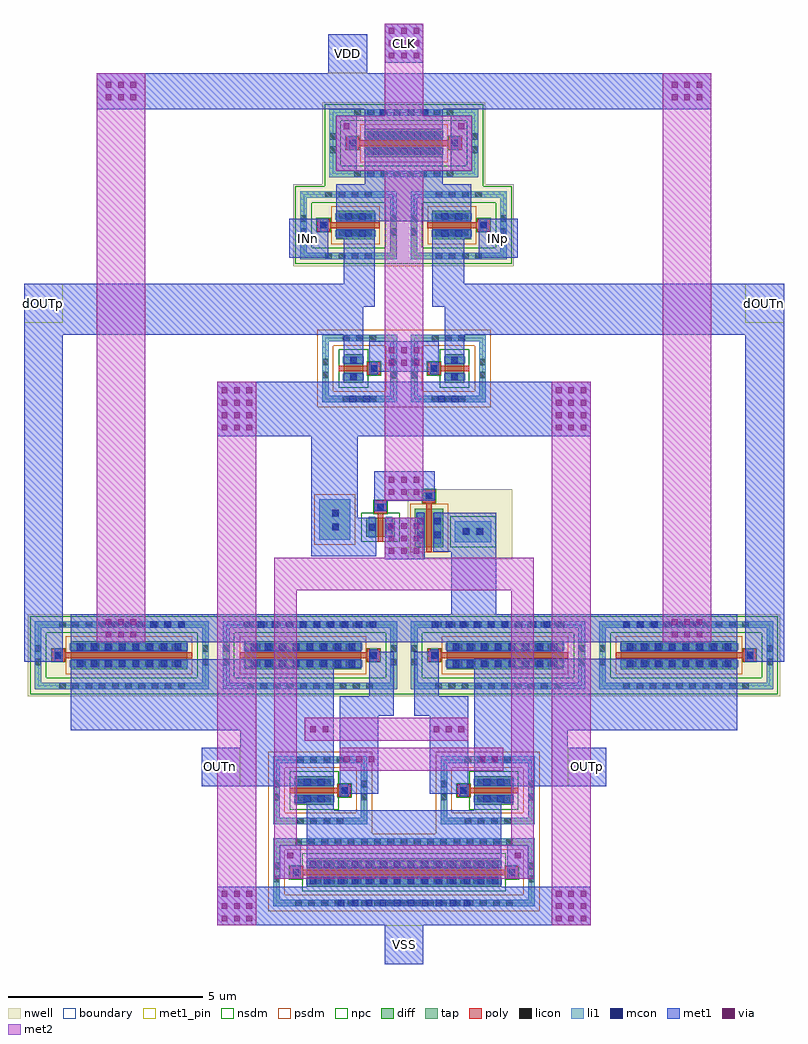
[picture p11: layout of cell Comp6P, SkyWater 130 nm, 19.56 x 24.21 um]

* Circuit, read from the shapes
.subckt Comp6P CLK INn INp OUTn OUTp VDD VSS dOUTn dOUTp
XM1 OUTn OUTp n1 VSS sky130_fd_pr__nfet_01v8 w=1 l=0.15
XM2 n1 Inv2-1_5/Out VSS VSS sky130_fd_pr__nfet_01v8 w=5 l=0.15
XM3 dOUTp CLK VSS VSS sky130_fd_pr__nfet_01v8 w=0.5 l=0.15
XM4 Inv2-1_5/Out CLK VSS VSS sky130_fd_pr__nfet_01v8 w=0.5 l=0.15
XM5 dOUTn CLK VSS VSS sky130_fd_pr__nfet_01v8 w=0.5 l=0.15
XM6 OUTp OUTn n1 VSS sky130_fd_pr__nfet_01v8 w=1 l=0.15
XM7 VDD dOUTp OUTn VDD sky130_fd_pr__pfet_01v8 w=3 l=0.15
XM8 VDD OUTp OUTn VDD sky130_fd_pr__pfet_01v8 w=3 l=0.15
XM9 n2 INn dOUTp VDD sky130_fd_pr__pfet_01v8 w=1 l=0.15
XM10 VDD CLK n2 VDD sky130_fd_pr__pfet_01v8 w=2 l=0.15
XM11 VDD CLK Inv2-1_5/Out VDD sky130_fd_pr__pfet_01v8 w=1 l=0.15
XM12 n2 INp dOUTn VDD sky130_fd_pr__pfet_01v8 w=1 l=0.15
XM13 VDD OUTn OUTp VDD sky130_fd_pr__pfet_01v8 w=3 l=0.15
XM14 VDD dOUTn OUTp VDD sky130_fd_pr__pfet_01v8 w=3 l=0.15
.ends

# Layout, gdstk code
from math import pi, radians
import gdstk
lib = gdstk.Library(unit=1e-6, precision=1e-09)
def R(c, l, rs):  # rectangles x0, y0, x1, y1
    for r in rs: c.add(gdstk.rectangle(r[:2], r[2:], *l))
def A(c, l, x, y, w, h, nx, ny, dx, dy):  # array of equal rectangles
    R(c, l, [(x+i*dx, y+j*dy, x+i*dx+w, y+j*dy+h) for i in range(nx) for j in range(ny)])
nwell = (64, 20)
diff = (65, 20)
tap = (65, 44)
poly = (66, 20)
licon = (66, 44)
li1 = (67, 20)
mcon = (67, 44)
met1_pin = (68, 16)
met1 = (68, 20)
via = (68, 44)
met2 = (69, 20)
nsdm = (93, 44)
psdm = (94, 20)
npc = (95, 20)
boundary = (235, 4)

sky130_fd_pr__pfet_01v8_ = lib.new_cell('sky130_fd_pr__pfet_01v8_KUW9CL')
R(sky130_fd_pr__pfet_01v8_, nwell, [(-1.055,-1.42,1.055,1.42)])
R(sky130_fd_pr__pfet_01v8_, diff, [(-0.365,-0.68,0.365,0.32)])
R(sky130_fd_pr__pfet_01v8_, tap, [(-0.875,-1.24,0.875,-1.07), (-0.875,-1.07,-0.705,1.07), (0.705,-1.07,0.875,1.07), (-0.875,1.07,0.875,1.24)])
R(sky130_fd_pr__pfet_01v8_, poly, [(-0.075,-0.81,0.075,0.475), (-0.165,0.475,0.165,0.805)])
A(sky130_fd_pr__pfet_01v8_, licon, -0.305, -0.605, 0.17, 0.17, 1, 3, 0, 0.34)
A(sky130_fd_pr__pfet_01v8_, licon, 0.135, -0.605, 0.17, 0.17, 1, 3, 0, 0.34)
A(sky130_fd_pr__pfet_01v8_, licon, -0.875, -0.595, 0.17, 0.17, 1, 4, 0, 0.34)
A(sky130_fd_pr__pfet_01v8_, licon, 0.705, -0.595, 0.17, 0.17, 1, 4, 0, 0.34)
R(sky130_fd_pr__pfet_01v8_, licon, [(-0.255,-1.24,-0.085,-1.07), (0.085,-1.24,0.255,-1.07), (-0.085,0.555,0.085,0.725), (-0.255,1.07,-0.085,1.24), (0.085,1.07,0.255,1.24)])
R(sky130_fd_pr__pfet_01v8_, li1, [(-0.875,-1.24,0.875,-1.07), (-0.875,-1.07,-0.705,1.07), (0.705,-1.07,0.875,1.07), (-0.305,-0.7,-0.135,0.34), (0.135,-0.7,0.305,0.34), (-0.165,0.555,0.165,0.725), (-0.875,1.07,0.875,1.24)])
R(sky130_fd_pr__pfet_01v8_, mcon, [(-0.305,-0.445,-0.135,-0.275), (0.135,-0.445,0.305,-0.275), (-0.305,-0.085,-0.135,0.085), (0.135,-0.085,0.305,0.085), (-0.085,0.555,0.085,0.725)])
R(sky130_fd_pr__pfet_01v8_, met1, [(-0.335,-0.68,-0.105,0.32), (0.105,-0.68,0.335,0.32), (-0.145,0.525,0.145,0.755)])
R(sky130_fd_pr__pfet_01v8_, nsdm, [(-1,-1.365,1,-0.945), (-1,-0.945,-0.58,0.945), (0.58,-0.945,1,0.945), (-1,0.945,1,1.365)])
R(sky130_fd_pr__pfet_01v8_, psdm, [(-0.49,-0.805,0.49,0.445)])
R(sky130_fd_pr__pfet_01v8_, npc, [(-0.185,0.455,0.185,0.825)])
R(sky130_fd_pr__pfet_01v8_, boundary, [(-0.79,-1.155,0.79,1.155)])

sky130_fd_pr__nfet_01v8_ = lib.new_cell('sky130_fd_pr__nfet_01v8_SYFC5S')
R(sky130_fd_pr__nfet_01v8_, diff, [(-0.365,-0.405,0.365,0.095)])
R(sky130_fd_pr__nfet_01v8_, tap, [(-0.875,-0.965,0.875,-0.795), (-0.875,-0.795,-0.705,0.795), (0.705,-0.795,0.875,0.795), (-0.875,0.795,0.875,0.965)])
R(sky130_fd_pr__nfet_01v8_, poly, [(-0.075,-0.535,0.075,0.205), (-0.165,0.205,0.165,0.535)])
A(sky130_fd_pr__nfet_01v8_, licon, -0.875, -0.425, 0.17, 0.17, 1, 3, 0, 0.34)
A(sky130_fd_pr__nfet_01v8_, licon, 0.705, -0.425, 0.17, 0.17, 1, 3, 0, 0.34)
R(sky130_fd_pr__nfet_01v8_, licon, [(-0.255,-0.965,-0.085,-0.795), (0.085,-0.965,0.255,-0.795), (-0.305,-0.24,-0.135,-0.07), (0.135,-0.24,0.305,-0.07), (-0.085,0.285,0.085,0.455), (-0.255,0.795,-0.085,0.965), (0.085,0.795,0.255,0.965)])
R(sky130_fd_pr__nfet_01v8_, li1, [(-0.875,-0.965,0.875,-0.795), (-0.875,-0.795,-0.705,0.795), (0.705,-0.795,0.875,0.795), (-0.305,-0.425,-0.135,0.115), (0.135,-0.425,0.305,0.115), (-0.165,0.285,0.165,0.455), (-0.875,0.795,0.875,0.965)])
R(sky130_fd_pr__nfet_01v8_, mcon, [(-0.305,-0.24,-0.135,-0.07), (0.135,-0.24,0.305,-0.07), (-0.085,0.285,0.085,0.455)])
R(sky130_fd_pr__nfet_01v8_, met1, [(-0.335,-0.405,-0.105,0.095), (0.105,-0.405,0.335,0.095), (-0.145,0.255,0.145,0.485)])
R(sky130_fd_pr__nfet_01v8_, nsdm, [(-0.49,-0.53,0.49,0.22)])
R(sky130_fd_pr__nfet_01v8_, psdm, [(-1,-1.09,1,-0.67), (-1,-0.67,-0.58,0.67), (0.58,-0.67,1,0.67), (-1,0.67,1,1.09)])
R(sky130_fd_pr__nfet_01v8_, npc, [(-0.185,0.185,0.185,0.555)])
R(sky130_fd_pr__nfet_01v8_, boundary, [(-0.79,-0.88,0.79,0.88)])

c_sky130_fd_pr__pfet_01v8_ = lib.new_cell('sky130_fd_pr__pfet_01v8_Q8B58K')
R(c_sky130_fd_pr__pfet_01v8_, nwell, [(-1.055,-2.095,1.055,2.095)])
R(c_sky130_fd_pr__pfet_01v8_, diff, [(-0.365,-1,0.365,1)])
R(c_sky130_fd_pr__pfet_01v8_, tap, [(-0.875,-1.915,0.875,-1.745), (-0.875,-1.745,-0.705,1.745), (0.705,-1.745,0.875,1.745), (-0.875,1.745,0.875,1.915)])
R(c_sky130_fd_pr__pfet_01v8_, poly, [(-0.165,-1.485,0.165,-1.155), (-0.075,-1.155,0.075,1.155), (-0.165,1.155,0.165,1.485)])
A(c_sky130_fd_pr__pfet_01v8_, licon, -0.875, -1.275, 0.17, 0.17, 1, 8, 0, 0.34)
A(c_sky130_fd_pr__pfet_01v8_, licon, 0.705, -1.275, 0.17, 0.17, 1, 8, 0, 0.34)
A(c_sky130_fd_pr__pfet_01v8_, licon, -0.305, -0.935, 0.17, 0.17, 1, 6, 0, 0.34)
A(c_sky130_fd_pr__pfet_01v8_, licon, 0.135, -0.935, 0.17, 0.17, 1, 6, 0, 0.34)
R(c_sky130_fd_pr__pfet_01v8_, licon, [(-0.255,-1.915,-0.085,-1.745), (0.085,-1.915,0.255,-1.745), (-0.085,-1.405,0.085,-1.235), (-0.085,1.235,0.085,1.405), (-0.255,1.745,-0.085,1.915), (0.085,1.745,0.255,1.915)])
R(c_sky130_fd_pr__pfet_01v8_, li1, [(-0.875,-1.915,0.875,-1.745), (-0.875,-1.745,-0.705,1.745), (0.705,-1.745,0.875,1.745), (-0.165,-1.405,0.165,-1.235), (-0.305,-1.02,-0.135,1.02), (0.135,-1.02,0.305,1.02), (-0.165,1.235,0.165,1.405), (-0.875,1.745,0.875,1.915)])
A(c_sky130_fd_pr__pfet_01v8_, mcon, -0.305, -0.805, 0.17, 0.17, 1, 5, 0, 0.36)
A(c_sky130_fd_pr__pfet_01v8_, mcon, 0.135, -0.805, 0.17, 0.17, 1, 5, 0, 0.36)
R(c_sky130_fd_pr__pfet_01v8_, mcon, [(-0.085,-1.405,0.085,-1.235), (-0.085,1.235,0.085,1.405)])
R(c_sky130_fd_pr__pfet_01v8_, met1, [(-0.145,-1.435,0.145,-1.205), (-0.335,-1,-0.105,1), (0.105,-1,0.335,1), (-0.145,1.205,0.145,1.435)])
R(c_sky130_fd_pr__pfet_01v8_, nsdm, [(-1,-2.04,1,-1.62), (-1,-1.62,-0.58,1.62), (0.58,-1.62,1,1.62), (-1,1.62,1,2.04)])
R(c_sky130_fd_pr__pfet_01v8_, psdm, [(-0.49,-1.125,0.49,1.125)])
R(c_sky130_fd_pr__pfet_01v8_, npc, [(-0.185,-1.505,0.185,-1.135), (-0.185,1.135,0.185,1.505)])
R(c_sky130_fd_pr__pfet_01v8_, boundary, [(-0.79,-1.83,0.79,1.83)])

c_sky130_fd_pr__pfet_01v8__ = lib.new_cell('sky130_fd_pr__pfet_01v8_KCE4QQ')
R(c_sky130_fd_pr__pfet_01v8__, nwell, [(-1.055,-2.42,1.055,2.42)])
R(c_sky130_fd_pr__pfet_01v8__, diff, [(-0.365,-1.68,0.365,1.32)])
R(c_sky130_fd_pr__pfet_01v8__, tap, [(-0.875,-2.24,0.875,-2.07), (-0.875,-2.07,-0.705,2.07), (0.705,-2.07,0.875,2.07), (-0.875,2.07,0.875,2.24)])
R(c_sky130_fd_pr__pfet_01v8__, poly, [(-0.075,-1.81,0.075,1.475), (-0.165,1.475,0.165,1.805)])
A(c_sky130_fd_pr__pfet_01v8__, licon, -0.875, -1.615, 0.17, 0.17, 1, 10, 0, 0.34)
A(c_sky130_fd_pr__pfet_01v8__, licon, 0.705, -1.615, 0.17, 0.17, 1, 10, 0, 0.34)
A(c_sky130_fd_pr__pfet_01v8__, licon, -0.305, -1.455, 0.17, 0.17, 1, 8, 0, 0.34)
A(c_sky130_fd_pr__pfet_01v8__, licon, 0.135, -1.455, 0.17, 0.17, 1, 8, 0, 0.34)
R(c_sky130_fd_pr__pfet_01v8__, licon, [(-0.255,-2.24,-0.085,-2.07), (0.085,-2.24,0.255,-2.07), (-0.085,1.555,0.085,1.725), (-0.255,2.07,-0.085,2.24), (0.085,2.07,0.255,2.24)])
R(c_sky130_fd_pr__pfet_01v8__, li1, [(-0.875,-2.24,0.875,-2.07), (-0.875,-2.07,-0.705,2.07), (0.705,-2.07,0.875,2.07), (-0.305,-1.7,-0.135,1.34), (0.135,-1.7,0.305,1.34), (-0.165,1.555,0.165,1.725), (-0.875,2.07,0.875,2.24)])
A(c_sky130_fd_pr__pfet_01v8__, mcon, -0.305, -1.525, 0.17, 0.17, 1, 8, 0, 0.36)
A(c_sky130_fd_pr__pfet_01v8__, mcon, 0.135, -1.525, 0.17, 0.17, 1, 8, 0, 0.36)
R(c_sky130_fd_pr__pfet_01v8__, mcon, [(-0.085,1.555,0.085,1.725)])
R(c_sky130_fd_pr__pfet_01v8__, met1, [(-0.335,-1.68,-0.105,1.32), (0.105,-1.68,0.335,1.32), (-0.145,1.525,0.145,1.755)])
R(c_sky130_fd_pr__pfet_01v8__, nsdm, [(-1,-2.365,1,-1.945), (-1,-1.945,-0.58,1.945), (0.58,-1.945,1,1.945), (-1,1.945,1,2.365)])
R(c_sky130_fd_pr__pfet_01v8__, psdm, [(-0.49,-1.805,0.49,1.445)])
R(c_sky130_fd_pr__pfet_01v8__, npc, [(-0.185,1.455,0.185,1.825)])
R(c_sky130_fd_pr__pfet_01v8__, boundary, [(-0.79,-2.155,0.79,2.155)])

c_sky130_fd_pr__nfet_01v8_ = lib.new_cell('sky130_fd_pr__nfet_01v8_8DMXDH')
R(c_sky130_fd_pr__nfet_01v8_, diff, [(-0.365,-0.405,0.365,0.095)])
R(c_sky130_fd_pr__nfet_01v8_, poly, [(-0.075,-0.535,0.075,0.205), (-0.165,0.205,0.165,0.535)])
R(c_sky130_fd_pr__nfet_01v8_, licon, [(-0.305,-0.24,-0.135,-0.07), (0.135,-0.24,0.305,-0.07), (-0.085,0.285,0.085,0.455)])
R(c_sky130_fd_pr__nfet_01v8_, li1, [(-0.305,-0.425,-0.135,0.115), (0.135,-0.425,0.305,0.115), (-0.165,0.285,0.165,0.455)])
R(c_sky130_fd_pr__nfet_01v8_, mcon, [(-0.305,-0.24,-0.135,-0.07), (0.135,-0.24,0.305,-0.07), (-0.085,0.285,0.085,0.455)])
R(c_sky130_fd_pr__nfet_01v8_, met1, [(-0.335,-0.405,-0.105,0.095), (0.105,-0.405,0.335,0.095), (-0.145,0.255,0.145,0.485)])
R(c_sky130_fd_pr__nfet_01v8_, nsdm, [(-0.49,-0.53,0.49,0.22)])
R(c_sky130_fd_pr__nfet_01v8_, npc, [(-0.185,0.185,0.185,0.555)])

c_sky130_fd_pr__pfet_01v8___ = lib.new_cell('sky130_fd_pr__pfet_01v8_F97YLM')
R(c_sky130_fd_pr__pfet_01v8___, nwell, [(-0.545,-0.99,0.545,0.82)])
R(c_sky130_fd_pr__pfet_01v8___, diff, [(-0.365,-0.68,0.365,0.32)])
R(c_sky130_fd_pr__pfet_01v8___, poly, [(-0.075,-0.81,0.075,0.475), (-0.165,0.475,0.165,0.805)])
R(c_sky130_fd_pr__pfet_01v8___, licon, [(-0.305,-0.435,-0.135,-0.265), (0.135,-0.435,0.305,-0.265), (-0.305,-0.095,-0.135,0.075), (0.135,-0.095,0.305,0.075), (-0.085,0.555,0.085,0.725)])
R(c_sky130_fd_pr__pfet_01v8___, li1, [(-0.305,-0.59,-0.135,0.23), (0.135,-0.59,0.305,0.23), (-0.165,0.555,0.165,0.725)])
R(c_sky130_fd_pr__pfet_01v8___, mcon, [(-0.305,-0.445,-0.135,-0.275), (0.135,-0.445,0.305,-0.275), (-0.305,-0.085,-0.135,0.085), (0.135,-0.085,0.305,0.085), (-0.085,0.555,0.085,0.725)])
R(c_sky130_fd_pr__pfet_01v8___, met1, [(-0.335,-0.57,-0.105,0.21), (0.105,-0.57,0.335,0.21), (-0.145,0.525,0.145,0.755)])
R(c_sky130_fd_pr__pfet_01v8___, psdm, [(-0.49,-0.805,0.49,0.445)])
R(c_sky130_fd_pr__pfet_01v8___, npc, [(-0.185,0.455,0.185,0.825)])

inv2_1 = lib.new_cell('Inv2-1')
R(inv2_1, met1_pin, [(2.73,-3.84,3.04,-2.84)])
R(inv2_1, met1, [(1.96,-4.31,2.96,-4.05), (1.23,-4.11,1.8,-3.78), (1.96,-3.84,3.04,-2.95), (1.23,-3.78,1.52,-2.84), (2.06,-2.95,3.04,-2.8), (1.84,-2.59,2.84,-2.15)])
inv2_1.add(gdstk.Reference(c_sky130_fd_pr__nfet_01v8_, (2.055,-3.945), rotation=pi/2))
inv2_1.add(gdstk.Reference(c_sky130_fd_pr__pfet_01v8___, (2.05,-2.695), rotation=pi/2))
inv2_1.add(gdstk.Label('Out', (2.885,-3.34), layer=68, texttype=5))

c_sky130_fd_pr__nfet_01v8__ = lib.new_cell('sky130_fd_pr__nfet_01v8_D5KUY4')
R(c_sky130_fd_pr__nfet_01v8__, diff, [(-0.365,-0.655,0.365,0.345)])
R(c_sky130_fd_pr__nfet_01v8__, tap, [(-0.875,-1.215,0.875,-1.045), (-0.875,-1.045,-0.705,1.045), (0.705,-1.045,0.875,1.045), (-0.875,1.045,0.875,1.215)])
R(c_sky130_fd_pr__nfet_01v8__, poly, [(-0.075,-0.785,0.075,0.455), (-0.165,0.455,0.165,0.785)])
A(c_sky130_fd_pr__nfet_01v8__, licon, -0.875, -0.595, 0.17, 0.17, 1, 4, 0, 0.34)
A(c_sky130_fd_pr__nfet_01v8__, licon, 0.705, -0.595, 0.17, 0.17, 1, 4, 0, 0.34)
A(c_sky130_fd_pr__nfet_01v8__, licon, -0.305, -0.58, 0.17, 0.17, 1, 3, 0, 0.34)
A(c_sky130_fd_pr__nfet_01v8__, licon, 0.135, -0.58, 0.17, 0.17, 1, 3, 0, 0.34)
R(c_sky130_fd_pr__nfet_01v8__, licon, [(-0.255,-1.215,-0.085,-1.045), (0.085,-1.215,0.255,-1.045), (-0.085,0.535,0.085,0.705), (-0.255,1.045,-0.085,1.215), (0.085,1.045,0.255,1.215)])
R(c_sky130_fd_pr__nfet_01v8__, li1, [(-0.875,-1.215,0.875,-1.045), (-0.875,-1.045,-0.705,1.045), (0.705,-1.045,0.875,1.045), (-0.305,-0.675,-0.135,0.365), (0.135,-0.675,0.305,0.365), (-0.165,0.535,0.165,0.705), (-0.875,1.045,0.875,1.215)])
R(c_sky130_fd_pr__nfet_01v8__, mcon, [(-0.305,-0.42,-0.135,-0.25), (0.135,-0.42,0.305,-0.25), (-0.305,-0.06,-0.135,0.11), (0.135,-0.06,0.305,0.11), (-0.085,0.535,0.085,0.705)])
R(c_sky130_fd_pr__nfet_01v8__, met1, [(-0.335,-0.655,-0.105,0.345), (0.105,-0.655,0.335,0.345), (-0.145,0.505,0.145,0.735)])
R(c_sky130_fd_pr__nfet_01v8__, nsdm, [(-0.49,-0.78,0.49,0.47)])
R(c_sky130_fd_pr__nfet_01v8__, psdm, [(-1,-1.34,1,-0.92), (-1,-0.92,-0.58,0.92), (0.58,-0.92,1,0.92), (-1,0.92,1,1.34)])
R(c_sky130_fd_pr__nfet_01v8__, npc, [(-0.185,0.435,0.185,0.805)])
R(c_sky130_fd_pr__nfet_01v8__, boundary, [(-0.79,-1.13,0.79,1.13)])

c_sky130_fd_pr__nfet_01v8___ = lib.new_cell('sky130_fd_pr__nfet_01v8_CXL9BL')
R(c_sky130_fd_pr__nfet_01v8___, diff, [(-0.365,-2.5,0.365,2.5)])
R(c_sky130_fd_pr__nfet_01v8___, tap, [(-0.875,-3.37,0.875,-3.2), (-0.875,-3.2,-0.705,3.2), (0.705,-3.2,0.875,3.2), (-0.875,3.2,0.875,3.37)])
R(c_sky130_fd_pr__nfet_01v8___, poly, [(-0.165,-2.94,0.165,-2.61), (-0.075,-2.61,0.075,2.61), (-0.165,2.61,0.165,2.94)])
A(c_sky130_fd_pr__nfet_01v8___, licon, -0.875, -2.805, 0.17, 0.17, 1, 17, 0, 0.34)
A(c_sky130_fd_pr__nfet_01v8___, licon, 0.705, -2.805, 0.17, 0.17, 1, 17, 0, 0.34)
A(c_sky130_fd_pr__nfet_01v8___, licon, -0.305, -2.295, 0.17, 0.17, 1, 14, 0, 0.34)
A(c_sky130_fd_pr__nfet_01v8___, licon, 0.135, -2.295, 0.17, 0.17, 1, 14, 0, 0.34)
R(c_sky130_fd_pr__nfet_01v8___, licon, [(-0.255,-3.37,-0.085,-3.2), (0.085,-3.37,0.255,-3.2), (-0.085,-2.86,0.085,-2.69), (-0.085,2.69,0.085,2.86), (-0.255,3.2,-0.085,3.37), (0.085,3.2,0.255,3.37)])
R(c_sky130_fd_pr__nfet_01v8___, li1, [(-0.875,-3.37,0.875,-3.2), (-0.875,-3.2,-0.705,3.2), (0.705,-3.2,0.875,3.2), (-0.165,-2.86,0.165,-2.69), (-0.305,-2.52,-0.135,2.52), (0.135,-2.52,0.305,2.52), (-0.165,2.69,0.165,2.86), (-0.875,3.2,0.875,3.37)])
A(c_sky130_fd_pr__nfet_01v8___, mcon, -0.305, -2.425, 0.17, 0.17, 1, 14, 0, 0.36)
A(c_sky130_fd_pr__nfet_01v8___, mcon, 0.135, -2.425, 0.17, 0.17, 1, 14, 0, 0.36)
R(c_sky130_fd_pr__nfet_01v8___, mcon, [(-0.085,-2.86,0.085,-2.69), (-0.085,2.69,0.085,2.86)])
R(c_sky130_fd_pr__nfet_01v8___, met1, [(-0.145,-2.89,0.145,-2.66), (-0.335,-2.5,-0.105,2.5), (0.105,-2.5,0.335,2.5), (-0.145,2.66,0.145,2.89)])
R(c_sky130_fd_pr__nfet_01v8___, nsdm, [(-0.49,-2.625,0.49,2.625)])
R(c_sky130_fd_pr__nfet_01v8___, psdm, [(-1,-3.495,1,-3.075), (-1,-3.075,-0.58,3.075), (0.58,-3.075,1,3.075), (-1,3.075,1,3.495)])
R(c_sky130_fd_pr__nfet_01v8___, npc, [(-0.185,-2.96,0.185,-2.59), (-0.185,2.59,0.185,2.96)])
R(c_sky130_fd_pr__nfet_01v8___, boundary, [(-0.79,-3.285,0.79,3.285)])

comp6p = lib.new_cell('Comp6P')
R(comp6p, nwell, [(14.77,-6.61,16.84,-4.8)])
R(comp6p, tap, [(15.36,-6.17,16.29,-5.62), (11.87,-6.1,12.67,-5.06)])
R(comp6p, licon, [(15.57,-5.98,15.74,-5.81), (15.91,-5.98,16.08,-5.81), (12.2,-5.85,12.37,-5.68), (12.2,-5.51,12.37,-5.34)])
R(comp6p, li1, [(12.25,-15.54,15.85,-15.37), (6.29,-8.37,8.55,-8.2), (9.87,-8.37,13.39,-8.2), (14.71,-8.37,18.23,-8.2), (19.55,-8.37,21.81,-8.2), (15.36,-6.17,16.29,-5.62), (11.87,-6.1,12.67,-5.06), (12.59,-2.57,13.23,-2.4), (14.87,-2.57,15.51,-2.4), (13.39,4.81,14.71,4.98)])
A(comp6p, mcon, 12.345, -15.54, 0.17, 0.17, 10, 1, 0.36, 0)
A(comp6p, mcon, 6.435, -8.37, 0.17, 0.17, 6, 1, 0.36, 0)
A(comp6p, mcon, 9.925, -8.37, 0.17, 0.17, 10, 1, 0.36, 0)
A(comp6p, mcon, 14.765, -8.37, 0.17, 0.17, 10, 1, 0.36, 0)
A(comp6p, mcon, 19.695, -8.37, 0.17, 0.17, 6, 1, 0.36, 0)
A(comp6p, mcon, 13.425, 4.81, 0.17, 0.17, 4, 1, 0.36, 0)
R(comp6p, mcon, [(15.56,-5.98,15.73,-5.81), (15.92,-5.98,16.09,-5.81), (12.2,-5.86,12.37,-5.69), (12.2,-5.5,12.37,-5.33), (12.645,-2.57,12.815,-2.4), (13.005,-2.57,13.175,-2.4), (14.925,-2.57,15.095,-2.4), (15.285,-2.57,15.455,-2.4)])
R(comp6p, met1_pin, [(13.55,-17.03,14.55,-16.03), (8.84,-12.45,9.84,-11.45), (18.26,-12.45,19.26,-11.45), (4.27,-0.52,5.27,0.48), (22.83,-0.52,23.83,0.48), (11.1,1.16,12.1,2.16), (15.98,1.16,16.98,2.16), (12.1,5.91,13.1,6.91), (13.55,6.18,14.55,7.18)])
R(comp6p, met1, [(13.55,-17.03,14.55,-16.03), (9.25,-16.03,18.85,-15.03), (11.55,-15.03,16.55,-14.77), (10.85,-14.83,11.39,-13.96), (16.71,-14.83,17.25,-13.96), (11.55,-14.56,16.55,-13.06), (11.55,-13.06,12.24,-12.66), (15.86,-13.06,16.55,-12.66), (12.4,-12.64,13.39,-10.63), (14.71,-12.64,15.7,-10.63), (8.84,-12.45,12.24,-11.45), (15.86,-12.45,19.26,-11.45), (9.84,-11.45,12.24,-11.01), (15.86,-11.45,18.26,-11), (5.47,-11.01,12.24,-9.18), (15.86,-11,22.63,-9.17), (12.4,-10.63,13.79,-10.13), (14.31,-10.63,15.7,-10.13), (13.15,-10.13,13.79,-8.99), (14.31,-10.13,14.95,-8.99), (4.27,-9.24,5.27,-0.82), (22.83,-9.24,23.83,-0.82), (5.47,-8.74,22.63,-8.02), (15.27,-8.02,16.43,-6.41), (13.58,-6.58,14.52,-5.56), (11.66,-6.53,13.25,-5.53), (15.17,-6.41,16.43,-5.41), (11.66,-5.53,12.86,-3.44), (13.28,-5.1,14.84,-4.34), (9.25,-3.44,18.85,-2.03), (13.16,-1.78,14.94,-0.99), (12.5,-1.59,13,-0.82), (15.1,-1.59,15.6,-0.82), (4.27,-0.82,13,-0.11), (15.1,-0.82,23.83,-0.11), (4.27,-0.11,13.3,0.48), (14.78,-0.11,23.83,0.48), (12.5,0.48,13.3,1.89), (14.78,0.48,15.6,1.89), (11.1,1.16,12.1,2.16), (15.98,1.16,16.98,2.16), (12.3,2.1,15.78,3.05), (13.04,3.05,15.05,4), (12.3,3.4,12.84,4.81), (15.25,3.4,15.79,4.81), (13.04,4.21,15.05,4.98), (6.14,4.98,21.96,5.91), (12.1,5.91,13.1,6.91), (13.55,6.18,14.55,7.18)])
A(comp6p, via, 9.355, -15.925, 0.15, 0.15, 3, 3, 0.32, 0.32)
A(comp6p, via, 17.955, -15.925, 0.15, 0.15, 3, 3, 0.32, 0.32)
A(comp6p, via, 12.5, -11.825, 0.15, 0.15, 3, 1, 0.32, 0)
A(comp6p, via, 14.81, -11.055, 0.15, 0.15, 3, 1, 0.32, 0)
A(comp6p, via, 6.37, -8.615, 0.15, 0.15, 3, 2, 0.32, 0.32)
A(comp6p, via, 20.94, -8.615, 0.15, 0.15, 3, 2, 0.32, 0.32)
A(comp6p, via, 13.655, -6.465, 0.15, 0.15, 3, 3, 0.32, 0.32)
A(comp6p, via, 13.655, -4.95, 0.15, 0.15, 3, 2, 0.32, 0.32)
A(comp6p, via, 9.355, -3.29, 0.15, 0.15, 3, 4, 0.32, 0.32)
A(comp6p, via, 17.955, -3.29, 0.15, 0.15, 3, 4, 0.32, 0.32)
A(comp6p, via, 13.655, -1.62, 0.15, 0.15, 3, 2, 0.32, 0.32)
A(comp6p, via, 6.37, 5.21, 0.15, 0.15, 3, 2, 0.32, 0.32)
A(comp6p, via, 20.94, 5.21, 0.15, 0.15, 3, 2, 0.32, 0.32)
A(comp6p, via, 13.655, 6.285, 0.15, 0.15, 3, 3, 0.32, 0.32)
R(comp6p, via, [(11.045,-14.305,11.195,-14.155), (16.905,-14.305,17.055,-14.155), (15.995,-11.825,16.145,-11.675), (16.315,-11.825,16.465,-11.675), (11.635,-11.055,11.785,-10.905), (11.955,-11.055,12.105,-10.905), (12.495,4.465,12.645,4.615), (15.445,4.465,15.595,4.615)])
R(comp6p, met2, [(9.25,-16.03,10.25,-2.03), (17.85,-16.03,18.85,-2.03), (10.71,-14.83,17.39,-13.96), (10.71,-13.96,11.29,-7.4), (16.81,-13.96,17.39,-7.4), (12.4,-12.05,16.6,-11.45), (11.5,-11.28,15.7,-10.68), (6.14,-8.74,7.39,5.91), (20.71,-8.74,21.96,5.91), (10.71,-7.4,17.39,-6.56), (13.55,-6.56,14.55,-5.53), (13.55,-5.09,14.55,3.4), (12.3,3.4,15.79,4.81), (13.55,4.81,14.55,7.18)])
A(comp6p, nsdm, 9.155, -10.075, 0.11, 2, 3, 1, 4.84, 0)
R(comp6p, nsdm, [(15.235,-6.295,16.415,-5.495), (13.985,0.995,14.095,2.995), (12.005,2.995,16.085,3.105)])
R(comp6p, psdm, [(10.555,-13.665,13.235,-13.555), (14.865,-13.665,17.545,-13.555), (11.745,-6.225,12.795,-4.935), (13.995,-2.695,14.105,-0.695)])
comp6p.add(gdstk.Reference(sky130_fd_pr__pfet_01v8_, (15.46,1.995), rotation=3*pi/2))
comp6p.add(gdstk.Reference(sky130_fd_pr__pfet_01v8_, (12.62,1.995), rotation=pi/2))
comp6p.add(gdstk.Reference(sky130_fd_pr__nfet_01v8_, (12.905,-1.695), rotation=3*pi/2))
comp6p.add(gdstk.Reference(c_sky130_fd_pr__pfet_01v8_, (14.045,4.105), rotation=3*pi/2))
comp6p.add(gdstk.Reference(c_sky130_fd_pr__pfet_01v8__, (21.31,-9.075), rotation=3*pi/2))
comp6p.add(gdstk.Reference(inv2_1, (17.39,-3.57), rotation=3*pi/2))
comp6p.add(gdstk.Reference(c_sky130_fd_pr__pfet_01v8__, (6.79,-9.075), rotation=pi/2))
comp6p.add(gdstk.Reference(sky130_fd_pr__nfet_01v8_, (15.195,-1.695), rotation=pi/2))
comp6p.add(gdstk.Reference(c_sky130_fd_pr__pfet_01v8__, (16.47,-9.075), rotation=pi/2))
comp6p.add(gdstk.Reference(c_sky130_fd_pr__nfet_01v8__, (16.205,-12.555), rotation=pi/2))
comp6p.add(gdstk.Reference(c_sky130_fd_pr__pfet_01v8__, (11.63,-9.075), rotation=3*pi/2))
comp6p.add(gdstk.Reference(c_sky130_fd_pr__nfet_01v8___, (14.05,-14.665), rotation=3*pi/2))
comp6p.add(gdstk.Reference(c_sky130_fd_pr__nfet_01v8__, (11.895,-12.555), rotation=3*pi/2))
comp6p.add(gdstk.Label('dOUTp', (4.77,-0.02), layer=68, texttype=5))
comp6p.add(gdstk.Label('VSS', (14.05,-16.53), layer=68, texttype=5))
comp6p.add(gdstk.Label('INp', (16.48,1.66), layer=68, texttype=5))
comp6p.add(gdstk.Label('CLK', (14.05,6.68), layer=68, texttype=5))
comp6p.add(gdstk.Label('dOUTn', (23.33,-0.02), layer=68, texttype=5))
comp6p.add(gdstk.Label('OUTp', (18.76,-11.95), layer=68, texttype=5))
comp6p.add(gdstk.Label('INn', (11.6,1.66), layer=68, texttype=5))
comp6p.add(gdstk.Label('OUTn', (9.34,-11.95), layer=68, texttype=5))
comp6p.add(gdstk.Label('VDD', (12.6,6.41), layer=68, texttype=5))

lib.write_gds('Comp6P.gds')
